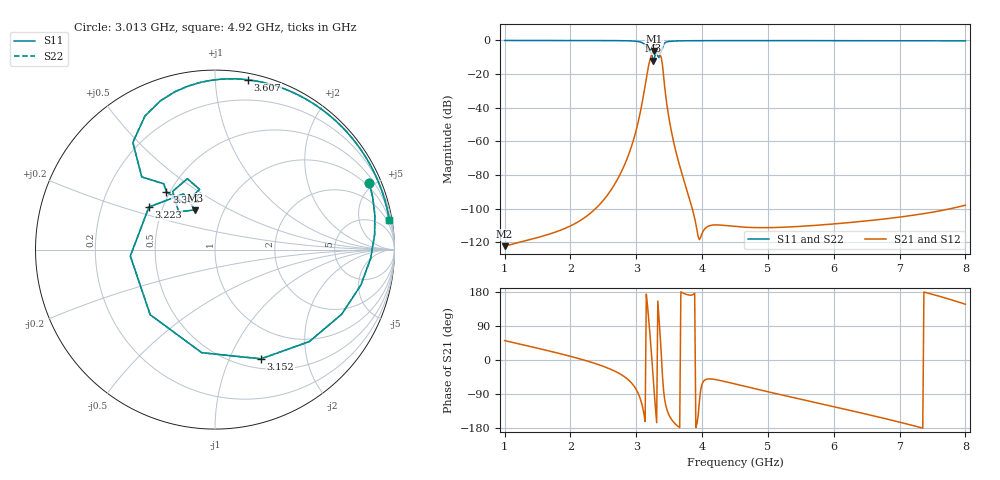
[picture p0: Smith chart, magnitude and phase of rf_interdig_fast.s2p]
! kicad2openems line model, qucsator (filter)
! ports: 1=P1, 2=P2
# Hz S RI R 50
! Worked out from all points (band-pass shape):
!   401 points, 1 GHz to 8 GHz, reference 50 ohm
!   highest |S21| = -6.46 dB at 3.275 GHz (marker M1); lowest = -122.3 dB at 1 GHz (marker M2)
!   |S21| within 3 dB of the highest: 3.224 GHz to 3.372 GHz (147.6 MHz wide, 4.48 % of centre)
!   lowest |S11| = -12.1 dB at 3.257 GHz (marker M3), VSWR 1.66, Z = 36.6 + j17.3 ohm
!   |S11| at or under -10 dB: 3.246 GHz to 3.279 GHz (33.62 MHz wide, 1.03 % of centre); 3.340908 GHz to 3.346545 GHz (5.638 MHz wide, 0.169 % of centre)
!   |S22| runs from -12.1 to 0.0 dB; largest |S21 - S12| = 1e-14
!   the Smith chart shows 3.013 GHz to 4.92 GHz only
!   S11 on the Smith chart (normalised r, x): 3.013 GHz: 0.79, +4.73; 3.152 GHz: 0.61, -1.32; 3.223 GHz: 0.42, +0.25; 3.362 GHz: 0.48, +0.37; 3.607 GHz: 0.05, +1.21; 4.92 GHz: 1, +12
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1e9  -0.7776 0.6244  4.8e-07 5.97e-07  4.8e-07 5.97e-07  -0.7778 0.6242
2.1725e9  -0.0501 0.9918  4.74e-06 1.24e-07  4.74e-06 1.24e-07  -0.0505 0.9918
2.75e9  0.4931 0.8507  8.07e-05 -5.94e-05  8.07e-05 -5.94e-05  0.4926 0.851
2.89e9  0.6786 0.6951  0.000255 -0.000351  0.000255 -0.000351  0.6783 0.6955
3.0125e9  0.86 0.3702  0.000375 -0.00271  0.000375 -0.00271  0.8598 0.3707
3.1e9  0.8128 -0.1977  -0.0112 -0.0145  -0.0112 -0.0145  0.8129 -0.1972
3.1525e9  0.2559 -0.6086  -0.0748 0.00808  -0.0748 0.00808  0.2563 -0.6084
3.1875e9  -0.3614 -0.3624  -0.0652 0.1662  -0.0652 0.1662  -0.3612 -0.3627
3.2225e9  -0.368 0.2374  0.2657 0.194  0.2657 0.194  -0.3681 0.2371
3.2575e9  -0.1105 0.2215  0.313 -0.3446  0.313 -0.3446  -0.1107 0.2214
3.275e9  -0.2029 0.2103  -0.00191 -0.4754  -0.00191 -0.4754  -0.203 0.2102
3.31e9  -0.1543 0.3951  -0.4348 -0.1137  -0.4348 -0.1137  -0.1546 0.395
3.345e9  -0.1676 0.2579  -0.16 0.4018  -0.16 0.4018  -0.1678 0.2577
3.3625e9  -0.2716 0.322  0.1551 0.3431  0.1551 0.3431  -0.2718 0.3218
3.4675e9  -0.2216 0.8803  -0.00767 -0.00856  -0.00767 -0.00856  -0.2222 0.8801
3.6075e9  0.1847 0.9458  -0.000446 -6.96e-05  -0.000446 -6.96e-05  0.184 0.9459
3.73e9  0.3763 0.8992  -6.33e-05 5.39e-06  -6.33e-05 5.39e-06  0.3757 0.8995
4.5e9  0.8802 0.4426  1.33e-06 -2.63e-06  1.33e-06 -2.63e-06  0.8798 0.4434
4.92e9  0.9717 0.1627  4.44e-07 -2.68e-06  4.44e-07 -2.68e-06  0.9715 0.1636
5.6725e9  0.9252 -0.3342  -1.09e-06 -2.94e-06  -1.09e-06 -2.94e-06  0.9256 -0.3333
6.845e9  0.392 -0.8973  -4.74e-06 -1.98e-06  -4.74e-06 -1.98e-06  0.3931 -0.8968
8e9  -0.4878 -0.8355  -1.06e-05 6.89e-06  -1.06e-05 6.89e-06  -0.4865 -0.8363
